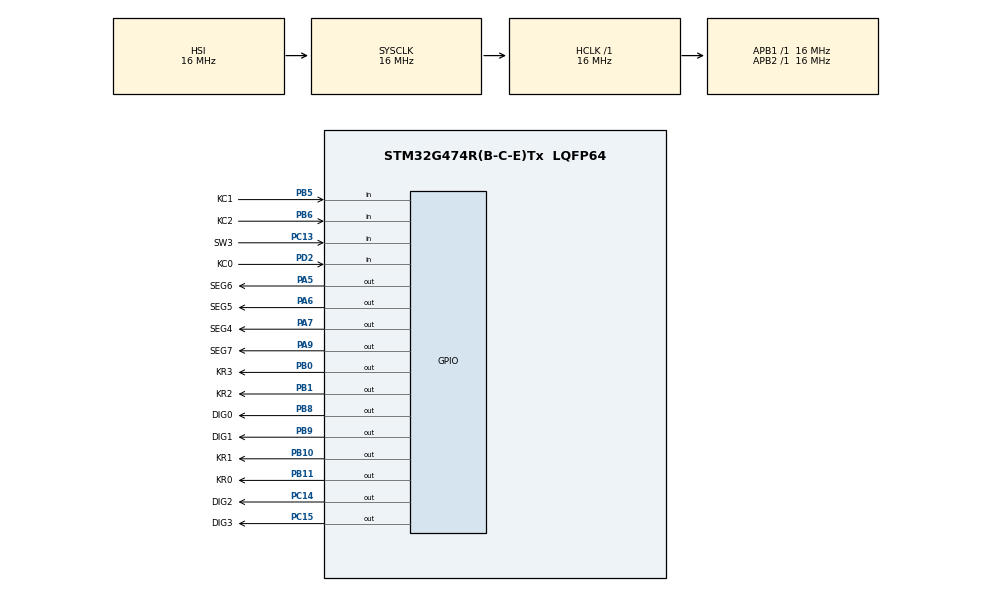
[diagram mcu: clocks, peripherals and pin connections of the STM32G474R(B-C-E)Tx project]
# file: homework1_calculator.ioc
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Mcu.Family=STM32G4
Mcu.Name=STM32G474R(B-C-E)Tx
Mcu.Package=LQFP64
NVIC.PriorityGroup=NVIC_PRIORITYGROUP_4
PA5.GPIO_Label=SEG6
PA5.Signal=GPIO_Output
PA6.GPIO_Label=SEG5
PA6.Signal=GPIO_Output
PA7.GPIO_Label=SEG4
PA7.Signal=GPIO_Output
PA9.GPIO_Label=SEG7
PA9.Signal=GPIO_Output
PB0.GPIO_Label=KR3
PB0.Signal=GPIO_Output
PB1.GPIO_Label=KR2
PB1.Signal=GPIO_Output
PB10.GPIO_Label=KR1
PB10.Signal=GPIO_Output
PB11.GPIO_Label=KR0
PB11.Signal=GPIO_Output
PB5.GPIO_Label=KC1
PB5.GPIO_PuPd=GPIO_PULLDOWN
PB5.Signal=GPIO_Input
PB6.GPIO_Label=KC2
PB6.GPIO_PuPd=GPIO_PULLDOWN
PB6.Signal=GPIO_Input
PB8-BOOT0.GPIO_Label=DIG0
PB8-BOOT0.Signal=GPIO_Output
PB9.GPIO_Label=DIG1
PB9.Signal=GPIO_Output
PC13.GPIO_Label=SW3
PC13.GPIO_PuPd=GPIO_PULLUP
PC13.Signal=GPIO_Input
PC14-OSC32_IN.GPIO_Label=DIG2
PC14-OSC32_IN.Signal=GPIO_Output
PC15-OSC32_OUT.GPIO_Label=DIG3
PC15-OSC32_OUT.Signal=GPIO_Output
PD2.GPIO_Label=KC0
PD2.GPIO_PuPd=GPIO_PULLDOWN
PD2.Signal=GPIO_Input
ProjectManager.HeapSize=0x200
ProjectManager.StackSize=0x400
ProjectManager.TargetToolchain=STM32CubeIDE
RCC.AHBFreq_Value=16000000
RCC.APB1Freq_Value=16000000
RCC.APB1TimFreq_Value=16000000
RCC.APB2Freq_Value=16000000
RCC.APB2TimFreq_Value=16000000
RCC.CortexFreq_Value=16000000
RCC.EXTERNAL_CLOCK_VALUE=12288000
RCC.HCLKFreq_Value=16000000
RCC.HSE_VALUE=8000000
RCC.HSI48_VALUE=48000000
RCC.HSI_VALUE=16000000
RCC.LSE_VALUE=32768
RCC.SYSCLKFreq_VALUE=16000000
RCC.USBFreq_Value=64000000
RCC.VCOOutputFreq_Value=128000000
VP_SYS_VS_DBSignals.Mode=DisableDeadBatterySignals
board=custom

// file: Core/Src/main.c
/* USER CODE BEGIN Header */
/**
  ******************************************************************************
  * @file           : main.c
  * @brief          : Main program body
  ******************************************************************************
  * @attention
  *
  * Copyright (c) 2024 STMicroelectronics.
  * All rights reserved.
  * write by Jac1own.
  *
  * This software is licensed under terms that can be found in the LICENSE file
  * in the root directory of this software component.
  * If no LICENSE file comes with this software, it is provided AS-IS.
  *
  ******************************************************************************
  */
/* USER CODE END Header */
#include "main.h"

/* USER CODE BEGIN Includes */
#include <math.h>
/* USER CODE END Includes */

/* USER CODE BEGIN PV */
#define del -1
#define SEG0_GPIO_Port KR0_GPIO_Port
#define SEG1_GPIO_Port KR1_GPIO_Port
#define SEG2_GPIO_Port KR2_GPIO_Port
#define SEG3_GPIO_Port KR3_GPIO_Port
#define SEG3_Pin KR3_Pin
#define SEG2_Pin KR2_Pin
#define SEG1_Pin KR1_Pin
#define SEG0_Pin KR0_Pin
/* USER CODE END PV */

void SystemClock_Config(void);
static void MX_GPIO_Init(void);
/* USER CODE BEGIN PFP */
uint8_t get_char(void);
void close(void);
void keep_char(uint8_t c);
void show_4char(void);
void calculate(int* suf);
GPIO_PinState jac_read_pin(GPIO_TypeDef *GPIOx, uint16_t GPIO_Pin);
void push(double c);
void pop(void);
int isempty(void);
double calresult(int * suf);
void getFirstFourDigits(double num);
void show_result(void);
int precedence(uint8_t op);
uint8_t get(void);
double getd(void);

GPIO_TypeDef * colsport[] = {KC0_GPIO_Port,KC1_GPIO_Port,KC2_GPIO_Port};//三列
uint16_t cols[] = {KC0_Pin,KC1_Pin,KC2_Pin};
GPIO_TypeDef * rowsport[] = {KR0_GPIO_Port, KR1_GPIO_Port, KR2_GPIO_Port, KR3_GPIO_Port, SEG4_GPIO_Port};//5�????
uint16_t rows[] = {KR0_Pin,KR1_Pin,KR2_Pin,KR3_Pin,SEG4_Pin};
GPIO_TypeDef * digport[] = {DIG0_GPIO_Port,DIG1_GPIO_Port,DIG2_GPIO_Port,DIG3_GPIO_Port};
uint16_t digpin[] = {DIG0_Pin,DIG1_Pin,DIG2_Pin,DIG3_Pin};
GPIO_TypeDef * segport[] = {SEG0_GPIO_Port, SEG1_GPIO_Port, SEG2_GPIO_Port, SEG3_GPIO_Port, SEG4_GPIO_Port, SEG5_GPIO_Port, SEG6_GPIO_Port, SEG7_GPIO_Port};
uint16_t segpin[] = {SEG0_Pin, SEG1_Pin, SEG2_Pin, SEG3_Pin, SEG4_Pin, SEG5_Pin, SEG6_Pin, SEG7_Pin};
uint8_t codes[] = {
		0x3f,0x06,0x5b,0x4f,0x66,0x6d,0x7d,0x07,0x7f,0x6f,
		0x77,0x7c,0x39,0x5e,0x79,0x71,0x3d,0x76,0x0f,0x0e,
		0x75,0x38,0x37,0x54,0x5c,0x73,0x67,0x31,0x49,0x78,
		0x3e,0x1c,0x7e,0x64,0x6e,0x59,0x40  };
uint8_t keyboard[6][3] = {{'1', '2', '3'},{'4', '5', '6'},{'7', '8', '9'},{'X', '0', 'E'},{'A', 'M', 'D'},{'\b', ' ', ' '}};
uint8_t expression[100] = {'0','0','0','0','0','0','0','0','0','0','0','0','0','0','0','0','0','0','0','0','0','0','0','0','0','0','0','0','0','0','0','0','0','0'};
uint8_t end = 3;
GPIO_PinState pre_state = 0;
uint8_t flag = 0;
uint8_t digits[4] = {0};
double stack[100] = {0};
int stack_head = -1;
int flag2 = 0;
/* USER CODE END PFP */

/* USER CODE BEGIN 0 */
double getd(void){
	if (stack_head!=-1)
	{
		return stack[stack_head];

	}
	else
		return -1;
}
int isempty(void)
{
	if (stack_head == -1)
	{
		return 1;
	}
	else
		return 0;
}
void setxdigit(double num, int x)
{
	while(num < pow(10, x - 1))
	{
		num *= 10;
	}

	    // 将num转换为整数
	    int temp = (int)num;
		int count = 0;
		while (temp % 10 == 0 )
		{
			temp /= 10;
			count++;
		}
		int j = count;
		while ( j > 0)
		{
			digits[x - j] = 0; // 0填充
			j --;

		}
	    // 从最低位开始提取每一位数字
	    for (int i = x - 1 - count; i >= 0; --i) {
	        digits[j] = temp % 10;
	        temp /= 10;
			j++;
	    }
}
void getFirstFourDigits(double num) {
    // 如果数值为负，则取其绝对值

    if (num != fabs(num))
    {

    	num = fabs(num);
    	setxdigit(num, 3);
    	digits[3] = 36;
    }
    else
    {
    	setxdigit(num,4);
    }
}
uint8_t get_char(void)
{
	int i, j;
	for (i = 0;i < 5; ++i)
	{
        HAL_GPIO_WritePin(rowsport[i], rows[i], GPIO_PIN_SET);
        HAL_GPIO_WritePin(rowsport[(i+1)%5], rows[(i+1)%5], GPIO_PIN_RESET);
        HAL_GPIO_WritePin(rowsport[(i+2)%5], rows[(i+2)%5], GPIO_PIN_RESET);
        HAL_GPIO_WritePin(rowsport[(i+3)%5], rows[(i+3)%5], GPIO_PIN_RESET);
        HAL_GPIO_WritePin(rowsport[(i+4)%5], rows[(i+4)%5], GPIO_PIN_RESET);
        for (j = 0; j < 3; ++j)
        {
        	if (HAL_GPIO_ReadPin(colsport[j], cols[j]) == GPIO_PIN_SET)
        		{HAL_GPIO_WritePin(rowsport[i], rows[i], GPIO_PIN_RESET);

        		if (flag == 1)
        			return '&';
        		flag = 1 ;
        		return keyboard[i][j];}
        }
	}
	if (HAL_GPIO_ReadPin(SW3_GPIO_Port, SW3_Pin) == GPIO_PIN_RESET)
	{
		if (flag == 1)
			return '&';
		flag = 1;
		return keyboard[5][0];
	}
	close();
	flag = 0;
	return '&';

}
void close(void)
{
	int i = 0;
	HAL_GPIO_WritePin(digport[i], digpin[i], GPIO_PIN_RESET);
	HAL_GPIO_WritePin(digport[(i + 1) % 4], digpin[(i + 1) % 4], GPIO_PIN_RESET);
	HAL_GPIO_WritePin(digport[(i + 2) % 4], digpin[(i + 2) % 4], GPIO_PIN_RESET);
	HAL_GPIO_WritePin(digport[(i + 3) % 4], digpin[(i + 3) % 4], GPIO_PIN_RESET);
	HAL_GPIO_WritePin(rowsport[i], rows[i], GPIO_PIN_RESET);
	HAL_GPIO_WritePin(rowsport[(i+1)%5], rows[(i+1)%5], GPIO_PIN_RESET);
	HAL_GPIO_WritePin(rowsport[(i+2)%5], rows[(i+2)%5], GPIO_PIN_RESET);
	HAL_GPIO_WritePin(rowsport[(i+3)%5], rows[(i+3)%5], GPIO_PIN_RESET);
	HAL_GPIO_WritePin(rowsport[(i+4)%5], rows[(i+4)%5], GPIO_PIN_RESET);

}
void keep_char(uint8_t c)
{

	if (c == '&')
		return;
	if (c != '\b' && end < 33 )
	 {
		 end += 1;
		 expression[end] = c;
	 }
	 else if (c == '\b' && end > 3)
	 {
		 expression[end] = '\b';
		 end --;
	 }
	if (c == 'E')
	{

		expression[end] = '\0';

	}
	//HAL_Delay(0);

}
GPIO_PinState jac_read_pin(GPIO_TypeDef *GPIOx, uint16_t GPIO_Pin)
{
     // 使用static以保留上�?状�??
    GPIO_PinState now_state = HAL_GPIO_ReadPin(GPIOx, GPIO_Pin);

    // �?测到边沿：之前是RESET，现在是SET
    if (pre_state == GPIO_PIN_RESET && now_state == GPIO_PIN_SET) {
        pre_state = now_state; // 更新状�??
        //HAL_Delay(4	);
        return GPIO_PIN_SET; // 报告变化
    }
    else {
        pre_state = now_state; // 总是更新状�?�以反映�?新�??
        return GPIO_PIN_RESET; // 默认返回RESET，表示无变化或等待下�?变化
    }
}
void show_4char()
{
	int i, j;

	for (i = 0; i < 4; ++i)
	{
		HAL_GPIO_WritePin(digport[i], digpin[i], GPIO_PIN_SET);
		HAL_GPIO_WritePin(digport[(i + 1) % 4], digpin[(i + 1) % 4], GPIO_PIN_RESET);
		HAL_GPIO_WritePin(digport[(i + 2) % 4], digpin[(i + 2) % 4], GPIO_PIN_RESET);
		HAL_GPIO_WritePin(digport[(i + 3) % 4], digpin[(i + 3) % 4], GPIO_PIN_RESET);

		for (j = 0; j < 7; ++j)
			HAL_GPIO_WritePin(segport[j], segpin[j],codes[expression[end - i] >= '0' && expression[end - i]<='9' ? expression[end - i] - '0' : expression[end - i] - 'A'+10] & 1<<j ? GPIO_PIN_SET : GPIO_PIN_RESET);

		HAL_Delay(4);
	}
	close();
}
void push (double c)
{

	stack_head++;
	stack[stack_head] = c;

	return;
}
void pop(void)
{
	if (stack_head>=0)
	{
		stack[stack_head] = '\0';
		stack_head--;}

	return;
}
uint8_t get(void)
{
	return stack[stack_head];
}
void calculate(int* suf)
{

    int length = end - 3;
    int i = 4, count = 0, temp = 0, num = 0;
    int node = 0;
    stack_head = -1;

    while (expression[i]!=0)
    {
        temp = i;
        count = 0;
        num = 0;
        while (expression[i] <= '9' && expression[i] >= '0') {
            count += 1;
            i++;
        }

        while (i - temp > 0) {
            count--;
            num += (expression[temp] - '0') * pow(10, count);
            temp++;
        }
        suf[node] = num;
        node++;

        if ((expression[i] <'0' ||expression[i] > '9')&& expression[i]!=0)
        {
      			while (isempty() != 1 &&precedence(expression[i]) <= precedence(get())  )
        			{

        				switch(get())
        				{case 'A':suf[node] = -1;break;
        				case 'M':suf[node] = -2;break;
        				case 'X':suf[node] = -3;break;
        				case 'D':suf[node] = -4;break;}
        				pop();
        				node ++;
        			}
        			push(expression[i]);
        			i++;

       	}

     }
        	while (isempty() != 1)
        	{
        		switch(get())
        				{case 'A':suf[node] = -1;break;
        				case 'M':suf[node] = -2;break;
        				case 'X':suf[node] = -3;break;
        				case 'D':suf[node] = -4;break;}
        		pop();
        		node++;
        	}
     suf[node] = -5;
}
int precedence(uint8_t op) {
    switch (op) {
        case 'A':
        case 'M':
            return 1;
        case 'X':
        case 'D':
            return 2;
        default:
            return 0;
    }
}
double calresult(int * suf)
{
	double result;
	double a, b;
	stack_head = -1;
	for (int i = 0; i < 100; i++) {
	    stack[i] = 0;
	}
	for(int i = 0;suf[i] != -5 ;++i)
	{
		if (suf[i] >=0)
			push(suf[i]);
		else
			{b=get();pop();a = get();pop();
			if (suf[i] ==-1){result = a+b;}
		if (suf[i] == -2) {result =a -b;}
		if(suf[i] == -3) {result = a*b;}
		if (suf[i] == -4) {result = a / b; }
			push(result);}

	}
	return getd();
}
void show_result(void)
{
	int i, j;

		for (i = 0; i < 4; ++i)
		{
			HAL_GPIO_WritePin(digport[i], digpin[i], GPIO_PIN_SET);
			HAL_GPIO_WritePin(digport[(i + 1) % 4], digpin[(i + 1) % 4], GPIO_PIN_RESET);
			HAL_GPIO_WritePin(digport[(i + 2) % 4], digpin[(i + 2) % 4], GPIO_PIN_RESET);
			HAL_GPIO_WritePin(digport[(i + 3) % 4], digpin[(i + 3) % 4], GPIO_PIN_RESET);

			for (j = 0; j < 7; ++j)
				HAL_GPIO_WritePin(segport[j], segpin[j],codes[digits[i]]&1<<j ? GPIO_PIN_SET:GPIO_PIN_RESET);

			HAL_Delay(0);
		}
		close();
}
/* USER CODE END 0 */

int main(void)
{

  /* MCU Configuration--------------------------------------------------------*/

  /* Reset of all peripherals, Initializes the Flash interface and the Systick. */
  HAL_Init();

  /* Configure the system clock */
  SystemClock_Config();

  /* Initialize all configured peripherals */
  MX_GPIO_Init();

  /* Infinite loop */
  while (1)
  {

    /* USER CODE BEGIN 3 */

	  //show_4char();
	  uint8_t i,j;
	  //i = HAL_GetTick();
	  //keep_char(get_char());
	 double num;
	 int suf[100] = {0};

	  if (expression[end] == '\0'&&flag2 == 0)
	  {
		  calculate(suf);
		  num = calresult(suf);
		  getFirstFourDigits(num);
		  flag2 =1;

	  }
	  else if (flag2 == 1)
	  {
		  show_result();
	  }
	  else
	  {
		  show_4char();
		  i = get_char();
		  keep_char(i);
	  }
	  //if (i % 2000 == 1000)
	  	  //end += 1 ;

  }
  /* USER CODE END 3 */
}

void SystemClock_Config(void)
{
  RCC_OscInitTypeDef RCC_OscInitStruct = {0};
  RCC_ClkInitTypeDef RCC_ClkInitStruct = {0};

  /** Configure the main internal regulator output voltage
  */
  HAL_PWREx_ControlVoltageScaling(PWR_REGULATOR_VOLTAGE_SCALE1);

  /** Initializes the RCC Oscillators according to the specified parameters
  * in the RCC_OscInitTypeDef structure.
  */
  RCC_OscInitStruct.OscillatorType = RCC_OSCILLATORTYPE_HSI;
  RCC_OscInitStruct.HSIState = RCC_HSI_ON;
  RCC_OscInitStruct.HSICalibrationValue = RCC_HSICALIBRATION_DEFAULT;
  RCC_OscInitStruct.PLL.PLLState = RCC_PLL_NONE;
  if (HAL_RCC_OscConfig(&RCC_OscInitStruct) != HAL_OK)
  {
    Error_Handler();
  }

  /** Initializes the CPU, AHB and APB buses clocks
  */
  RCC_ClkInitStruct.ClockType = RCC_CLOCKTYPE_HCLK|RCC_CLOCKTYPE_SYSCLK
                              |RCC_CLOCKTYPE_PCLK1|RCC_CLOCKTYPE_PCLK2;
  RCC_ClkInitStruct.SYSCLKSource = RCC_SYSCLKSOURCE_HSI;
  RCC_ClkInitStruct.AHBCLKDivider = RCC_SYSCLK_DIV1;
  RCC_ClkInitStruct.APB1CLKDivider = RCC_HCLK_DIV1;
  RCC_ClkInitStruct.APB2CLKDivider = RCC_HCLK_DIV1;

  if (HAL_RCC_ClockConfig(&RCC_ClkInitStruct, FLASH_LATENCY_0) != HAL_OK)
  {
    Error_Handler();
  }
}

static void MX_GPIO_Init(void)
{
  GPIO_InitTypeDef GPIO_InitStruct = {0};

  /* GPIO Ports Clock Enable */
  __HAL_RCC_GPIOC_CLK_ENABLE();
  __HAL_RCC_GPIOA_CLK_ENABLE();
  __HAL_RCC_GPIOB_CLK_ENABLE();
  __HAL_RCC_GPIOD_CLK_ENABLE();

  /*Configure GPIO pin Output Level */
  HAL_GPIO_WritePin(GPIOC, DIG2_Pin|DIG3_Pin, GPIO_PIN_RESET);

  /*Configure GPIO pin Output Level */
  HAL_GPIO_WritePin(GPIOA, SEG6_Pin|SEG5_Pin|SEG4_Pin|SEG7_Pin, GPIO_PIN_RESET);

  /*Configure GPIO pin Output Level */
  HAL_GPIO_WritePin(GPIOB, KR3_Pin|KR2_Pin|KR1_Pin|KR0_Pin
                          |DIG0_Pin|DIG1_Pin, GPIO_PIN_RESET);

  /*Configure GPIO pin : SW3_Pin */
  GPIO_InitStruct.Pin = SW3_Pin;
  GPIO_InitStruct.Mode = GPIO_MODE_INPUT;
  GPIO_InitStruct.Pull = GPIO_PULLUP;
  HAL_GPIO_Init(SW3_GPIO_Port, &GPIO_InitStruct);

  /*Configure GPIO pins : DIG2_Pin DIG3_Pin */
  GPIO_InitStruct.Pin = DIG2_Pin|DIG3_Pin;
  GPIO_InitStruct.Mode = GPIO_MODE_OUTPUT_PP;
  GPIO_InitStruct.Pull = GPIO_NOPULL;
  GPIO_InitStruct.Speed = GPIO_SPEED_FREQ_LOW;
  HAL_GPIO_Init(GPIOC, &GPIO_InitStruct);

  /*Configure GPIO pins : SEG6_Pin SEG5_Pin SEG4_Pin SEG7_Pin */
  GPIO_InitStruct.Pin = SEG6_Pin|SEG5_Pin|SEG4_Pin|SEG7_Pin;
  GPIO_InitStruct.Mode = GPIO_MODE_OUTPUT_PP;
  GPIO_InitStruct.Pull = GPIO_NOPULL;
  GPIO_InitStruct.Speed = GPIO_SPEED_FREQ_LOW;
  HAL_GPIO_Init(GPIOA, &GPIO_InitStruct);

  /*Configure GPIO pins : KR3_Pin KR2_Pin KR1_Pin KR0_Pin
                           DIG0_Pin DIG1_Pin */
  GPIO_InitStruct.Pin = KR3_Pin|KR2_Pin|KR1_Pin|KR0_Pin
                          |DIG0_Pin|DIG1_Pin;
  GPIO_InitStruct.Mode = GPIO_MODE_OUTPUT_PP;
  GPIO_InitStruct.Pull = GPIO_NOPULL;
  GPIO_InitStruct.Speed = GPIO_SPEED_FREQ_LOW;
  HAL_GPIO_Init(GPIOB, &GPIO_InitStruct);

  /*Configure GPIO pin : KC0_Pin */
  GPIO_InitStruct.Pin = KC0_Pin;
  GPIO_InitStruct.Mode = GPIO_MODE_INPUT;
  GPIO_InitStruct.Pull = GPIO_PULLDOWN;
  HAL_GPIO_Init(KC0_GPIO_Port, &GPIO_InitStruct);

  /*Configure GPIO pins : KC1_Pin KC2_Pin */
  GPIO_InitStruct.Pin = KC1_Pin|KC2_Pin;
  GPIO_InitStruct.Mode = GPIO_MODE_INPUT;
  GPIO_InitStruct.Pull = GPIO_PULLDOWN;
  HAL_GPIO_Init(GPIOB, &GPIO_InitStruct);

}

void Error_Handler(void)
{
  __disable_irq();
  while (1)
  {
  }
}
